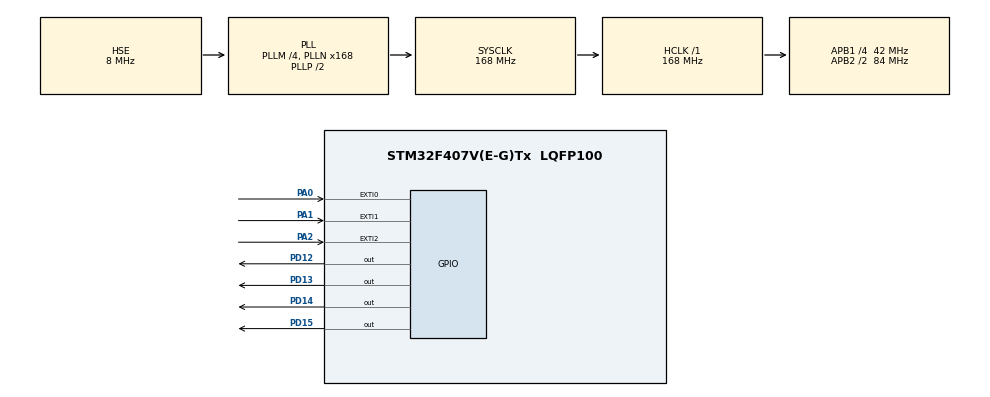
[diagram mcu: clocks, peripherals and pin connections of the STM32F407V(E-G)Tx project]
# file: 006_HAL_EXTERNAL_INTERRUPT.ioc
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Mcu.Family=STM32F4
Mcu.Name=STM32F407V(E-G)Tx
Mcu.Package=LQFP100
NVIC.EXTI0_IRQn=true\:0\:0\:false\:false\:true\:true\:true
NVIC.EXTI1_IRQn=true\:0\:0\:false\:false\:true\:true\:true
NVIC.EXTI2_IRQn=true\:0\:0\:false\:false\:true\:true\:true
NVIC.PriorityGroup=NVIC_PRIORITYGROUP_4
PA0-WKUP.GPIO_PuPd=GPIO_PULLDOWN
PA0-WKUP.Signal=GPXTI0
PA1.GPIO_PuPd=GPIO_PULLDOWN
PA1.Signal=GPXTI1
PA13.Mode=Serial_Wire
PA13.Signal=SYS_JTMS-SWDIO
PA14.Mode=Serial_Wire
PA14.Signal=SYS_JTCK-SWCLK
PA2.GPIO_PuPd=GPIO_PULLDOWN
PA2.Signal=GPXTI2
PD12.GPIO_PuPd=GPIO_PULLDOWN
PD12.GPIO_Speed=GPIO_SPEED_FREQ_VERY_HIGH
PD12.Signal=GPIO_Output
PD13.GPIO_Speed=GPIO_SPEED_FREQ_VERY_HIGH
PD13.Signal=GPIO_Output
PD14.GPIO_Speed=GPIO_SPEED_FREQ_VERY_HIGH
PD14.Signal=GPIO_Output
PD15.GPIO_Speed=GPIO_SPEED_FREQ_VERY_HIGH
PD15.Signal=GPIO_Output
PH0-OSC_IN.Mode=HSE-External-Oscillator
PH0-OSC_IN.Signal=RCC_OSC_IN
PH1-OSC_OUT.Mode=HSE-External-Oscillator
PH1-OSC_OUT.Signal=RCC_OSC_OUT
ProjectManager.HeapSize=0x200
ProjectManager.StackSize=0x400
ProjectManager.TargetToolchain=TrueSTUDIO
RCC.48MHZClocksFreq_Value=84000000
RCC.AHBFreq_Value=168000000
RCC.APB1CLKDivider=RCC_HCLK_DIV4
RCC.APB1Freq_Value=42000000
RCC.APB1TimFreq_Value=84000000
RCC.APB2CLKDivider=RCC_HCLK_DIV2
RCC.APB2Freq_Value=84000000
RCC.APB2TimFreq_Value=168000000
RCC.CortexFreq_Value=168000000
RCC.HCLKFreq_Value=168000000
RCC.HSE_VALUE=8000000
RCC.HSI_VALUE=16000000
RCC.LSE_VALUE=32768
RCC.PLLM=4
RCC.PLLN=168
RCC.PLLSourceVirtual=RCC_PLLSOURCE_HSE
RCC.SYSCLKFreq_VALUE=168000000
RCC.SYSCLKSource=RCC_SYSCLKSOURCE_PLLCLK
RCC.VCOOutputFreq_Value=336000000
board=custom

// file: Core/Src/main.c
/* USER CODE BEGIN Header */
/**
  ******************************************************************************
  * @file           : main.c
  * @brief          : Main program body
  ******************************************************************************
  * @attention
  *
  * <h2><center>&copy; Copyright (c) 2021 STMicroelectronics.
  * All rights reserved.</center></h2>
  *
  * This software component is licensed by ST under BSD 3-Clause license,
  * the "License"; You may not use this file except in compliance with the
  * License. You may obtain a copy of the License at:
  *                        opensource.org/licenses/BSD-3-Clause
  *
  ******************************************************************************
  */
/* USER CODE END Header */
#include "main.h"

/* USER CODE BEGIN Includes */
int i=0, count=0;
/* USER CODE END Includes */

void SystemClock_Config(void);
static void MX_GPIO_Init(void);

/* USER CODE BEGIN 0 */
void HAL_GPIO_EXTI_Callback(uint16_t GPIO_Pin){

	if(HAL_GPIO_ReadPin(GPIOA,GPIO_PIN_0)){
		i++;
		if(i == 1){
			count =1000;
		}
		else if(i==2){
			count = 750;
		}
		else if(i==3){
			count =500;
		}
		else {
			count =250;
			i=0;
		}

	}
	else if(HAL_GPIO_ReadPin(GPIOA,GPIO_PIN_1))
	{
		count = 2000;
	}
	else{
		count =3000;
	}

}
/* USER CODE END 0 */

int main(void)
{

  /* MCU Configuration--------------------------------------------------------*/

  /* Reset of all peripherals, Initializes the Flash interface and the Systick. */
  HAL_Init();

  /* Configure the system clock */
  SystemClock_Config();

  /* Initialize all configured peripherals */
  MX_GPIO_Init();

  /* Infinite loop */
  while (1)
  {

    /* USER CODE BEGIN 3 */
	  HAL_GPIO_TogglePin(GPIOD,GPIO_PIN_All);
	  HAL_Delay(count);
  }
  /* USER CODE END 3 */
}

void SystemClock_Config(void)
{
  RCC_OscInitTypeDef RCC_OscInitStruct = {0};
  RCC_ClkInitTypeDef RCC_ClkInitStruct = {0};

  /** Configure the main internal regulator output voltage
  */
  __HAL_RCC_PWR_CLK_ENABLE();
  __HAL_PWR_VOLTAGESCALING_CONFIG(PWR_REGULATOR_VOLTAGE_SCALE1);
  /** Initializes the RCC Oscillators according to the specified parameters
  * in the RCC_OscInitTypeDef structure.
  */
  RCC_OscInitStruct.OscillatorType = RCC_OSCILLATORTYPE_HSE;
  RCC_OscInitStruct.HSEState = RCC_HSE_ON;
  RCC_OscInitStruct.PLL.PLLState = RCC_PLL_ON;
  RCC_OscInitStruct.PLL.PLLSource = RCC_PLLSOURCE_HSE;
  RCC_OscInitStruct.PLL.PLLM = 4;
  RCC_OscInitStruct.PLL.PLLN = 168;
  RCC_OscInitStruct.PLL.PLLP = RCC_PLLP_DIV2;
  RCC_OscInitStruct.PLL.PLLQ = 4;
  if (HAL_RCC_OscConfig(&RCC_OscInitStruct) != HAL_OK)
  {
    Error_Handler();
  }
  /** Initializes the CPU, AHB and APB buses clocks
  */
  RCC_ClkInitStruct.ClockType = RCC_CLOCKTYPE_HCLK|RCC_CLOCKTYPE_SYSCLK
                              |RCC_CLOCKTYPE_PCLK1|RCC_CLOCKTYPE_PCLK2;
  RCC_ClkInitStruct.SYSCLKSource = RCC_SYSCLKSOURCE_PLLCLK;
  RCC_ClkInitStruct.AHBCLKDivider = RCC_SYSCLK_DIV1;
  RCC_ClkInitStruct.APB1CLKDivider = RCC_HCLK_DIV4;
  RCC_ClkInitStruct.APB2CLKDivider = RCC_HCLK_DIV2;

  if (HAL_RCC_ClockConfig(&RCC_ClkInitStruct, FLASH_LATENCY_5) != HAL_OK)
  {
    Error_Handler();
  }
}

static void MX_GPIO_Init(void)
{
  GPIO_InitTypeDef GPIO_InitStruct = {0};

  /* GPIO Ports Clock Enable */
  __HAL_RCC_GPIOH_CLK_ENABLE();
  __HAL_RCC_GPIOA_CLK_ENABLE();
  __HAL_RCC_GPIOD_CLK_ENABLE();

  /*Configure GPIO pin Output Level */
  HAL_GPIO_WritePin(GPIOD, GPIO_PIN_12|GPIO_PIN_13|GPIO_PIN_14|GPIO_PIN_15, GPIO_PIN_RESET);

  /*Configure GPIO pins : PA0 PA1 PA2 */
  GPIO_InitStruct.Pin = GPIO_PIN_0|GPIO_PIN_1|GPIO_PIN_2;
  GPIO_InitStruct.Mode = GPIO_MODE_IT_RISING;
  GPIO_InitStruct.Pull = GPIO_PULLDOWN;
  HAL_GPIO_Init(GPIOA, &GPIO_InitStruct);

  /*Configure GPIO pin : PD12 */
  GPIO_InitStruct.Pin = GPIO_PIN_12;
  GPIO_InitStruct.Mode = GPIO_MODE_OUTPUT_PP;
  GPIO_InitStruct.Pull = GPIO_PULLDOWN;
  GPIO_InitStruct.Speed = GPIO_SPEED_FREQ_VERY_HIGH;
  HAL_GPIO_Init(GPIOD, &GPIO_InitStruct);

  /*Configure GPIO pins : PD13 PD14 PD15 */
  GPIO_InitStruct.Pin = GPIO_PIN_13|GPIO_PIN_14|GPIO_PIN_15;
  GPIO_InitStruct.Mode = GPIO_MODE_OUTPUT_PP;
  GPIO_InitStruct.Pull = GPIO_NOPULL;
  GPIO_InitStruct.Speed = GPIO_SPEED_FREQ_VERY_HIGH;
  HAL_GPIO_Init(GPIOD, &GPIO_InitStruct);

  /* EXTI interrupt init*/
  HAL_NVIC_SetPriority(EXTI0_IRQn, 0, 0);
  HAL_NVIC_EnableIRQ(EXTI0_IRQn);

  HAL_NVIC_SetPriority(EXTI1_IRQn, 0, 0);
  HAL_NVIC_EnableIRQ(EXTI1_IRQn);

  HAL_NVIC_SetPriority(EXTI2_IRQn, 0, 0);
  HAL_NVIC_EnableIRQ(EXTI2_IRQn);

}

void Error_Handler(void)
{
  __disable_irq();
  while (1)
  {
  }
}

/************************ (C) COPYRIGHT STMicroelectronics *****END OF FILE****/
